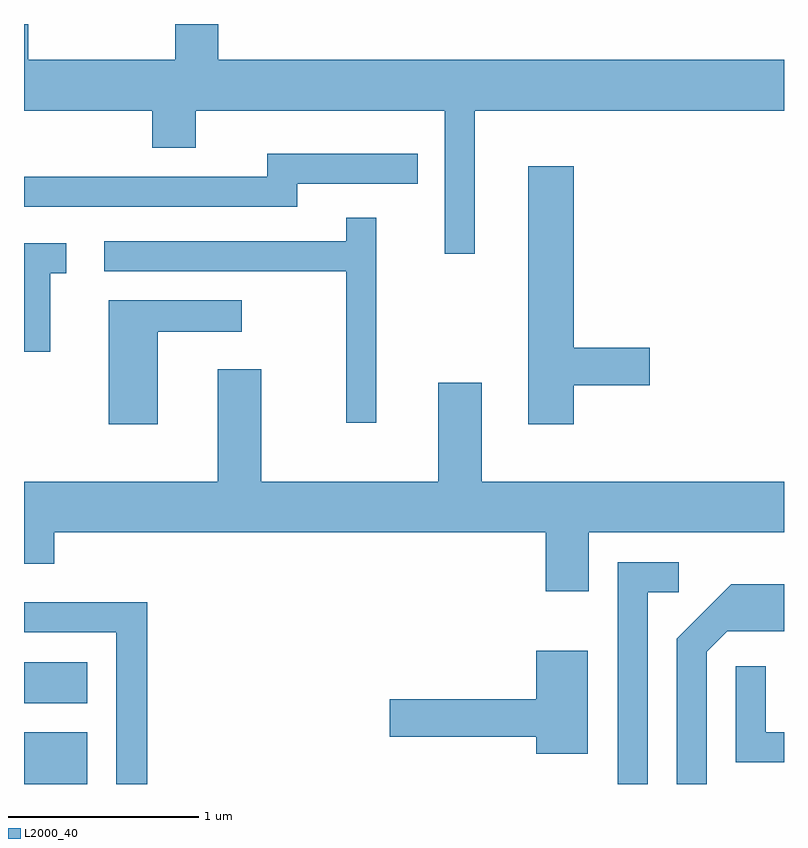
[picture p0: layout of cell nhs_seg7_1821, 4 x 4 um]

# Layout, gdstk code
import gdstk
lib = gdstk.Library(unit=1e-6, precision=1e-09)
def R(c, l, rs):  # rectangles x0, y0, x1, y1
    for r in rs: c.add(gdstk.rectangle(r[:2], r[2:], *l))
def P(c, l, *ps):  # polygons
    for p in ps: c.add(gdstk.Polygon(p, *l))
L2000_40 = (2000, 40)

nhs_seg7_1821 = lib.new_cell('nhs_seg7_1821')
R(nhs_seg7_1821, L2000_40, [(239.611,1786.252,239.944,1786.524), (239.611,1786.676,239.944,1786.894)])
P(nhs_seg7_1821, L2000_40, [(241.984,1789.796),(243.611,1789.796),(243.611,1790.064),(240.634,1790.064),(240.634,1790.252),(240.406,1790.252),(240.406,1790.064),(239.634,1790.064),(239.634,1790.252),(239.611,1790.252),(239.611,1789.796),(240.286,1789.796),(240.286,1789.601),(240.514,1789.601),(240.514,1789.796),(241.826,1789.796),(241.826,1789.043),(241.984,1789.043)],
  [(241.049,1789.411),(241.683,1789.411),(241.683,1789.569),(240.891,1789.569),(240.891,1789.449),(239.611,1789.449),(239.611,1789.291),(241.049,1789.291)],
  [(242.504,1788.351),(242.904,1788.351),(242.904,1788.549),(242.504,1788.549),(242.504,1789.504),(242.266,1789.504),(242.266,1788.146),(242.504,1788.146)],
  [(241.464,1789.233),(241.306,1789.233),(241.306,1789.109),(240.033,1789.109),(240.033,1788.951),(241.306,1788.951),(241.306,1788.153),(241.464,1788.153)],
  [(239.749,1788.941),(239.833,1788.941),(239.833,1789.099),(239.611,1789.099),(239.611,1788.526),(239.749,1788.526)],
  [(240.314,1788.631),(240.758,1788.631),(240.758,1788.799),(240.056,1788.799),(240.056,1788.146),(240.314,1788.146)],
  [(242.584,1787.576),(243.611,1787.576),(243.611,1787.844),(242.019,1787.844),(242.019,1788.364),(241.791,1788.364),(241.791,1787.844),(240.859,1787.844),(240.859,1788.434),(240.631,1788.434),(240.631,1787.844),(239.611,1787.844),(239.611,1787.411),(239.769,1787.411),(239.769,1787.576),(242.356,1787.576),(242.356,1787.266),(242.584,1787.266)],
  [(242.894,1787.261),(243.058,1787.261),(243.058,1787.419),(242.736,1787.419),(242.736,1786.252),(242.894,1786.252)],
  [(243.204,1786.949),(243.312,1787.056),(243.611,1787.056),(243.611,1787.304),(243.334,1787.304),(243.046,1787.017),(243.046,1786.252),(243.204,1786.252)],
  [(240.259,1787.209),(239.611,1787.209),(239.611,1787.051),(240.096,1787.051),(240.096,1786.252),(240.259,1786.252)],
  [(242.579,1786.954),(242.306,1786.954),(242.306,1786.699),(241.536,1786.699),(241.536,1786.501),(242.306,1786.501),(242.306,1786.411),(242.579,1786.411)],
  [(243.611,1786.524),(243.514,1786.524),(243.514,1786.873),(243.356,1786.873),(243.356,1786.366),(243.611,1786.366)])

lib.write_gds('nhs_seg7_1821.gds')
